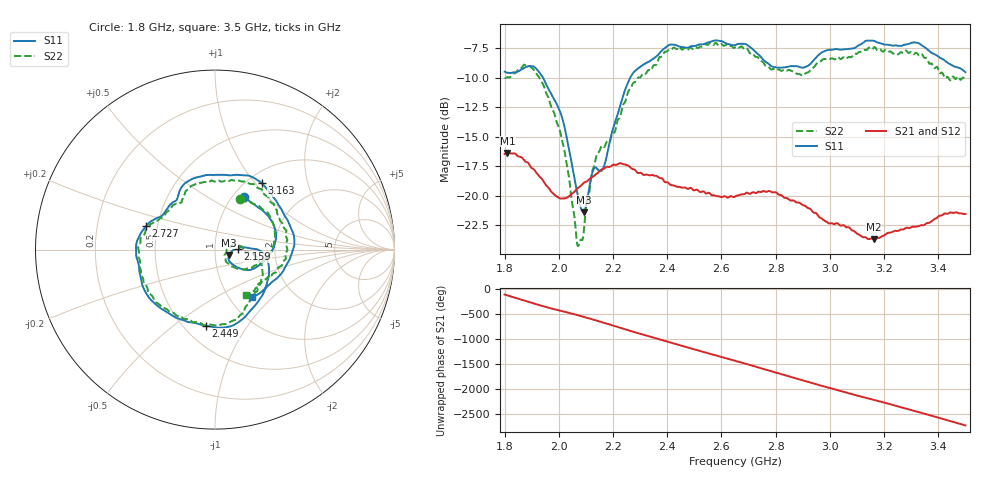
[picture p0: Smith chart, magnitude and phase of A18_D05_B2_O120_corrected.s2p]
! Created with skrf 1.9.0 (http://scikit-rf.org).
# Hz S RI R 50.0
!freq ReS11 ImS11 ReS21 ImS21 ReS12 ImS12 ReS22 ImS22
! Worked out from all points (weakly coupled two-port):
!   1601 points, 1.8 GHz to 3.5 GHz, reference 50 ohm
!   highest |S21| = -16.39 dB at 1.811 GHz (marker M1); lowest = -23.7 dB at 3.162 GHz (marker M2)
!   lowest |S11| = -21.4 dB at 2.091 GHz (marker M3), VSWR 1.19, Z = 58.5 - j3.54 ohm
!   |S11| at or under -10 dB: 1.942 GHz to 2.264 GHz (321.8 MHz wide, 15.3 % of centre)
!   |S22| runs from -24.3 to -7.0 dB; largest |S21 - S12| = 0.0028
!   S11 on the Smith chart (normalised r, x): 1.8 GHz: 1.13, +0.75; 2.159 GHz: 1.29, +0.01; 2.449 GHz: 0.64, -0.66; 2.727 GHz: 0.43, +0.13; 3.163 GHz: 1.16, +1.08; 3.5 GHz: 1.27, -0.75
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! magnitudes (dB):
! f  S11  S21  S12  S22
! 1.8 GHz  -9.5  -16.5  -16.5  -10.0
! 1.811 GHz  -9.6  -16.4  -16.4  -10.0
! 1.88 GHz  -9.1  -17.2  -17.1  -9.0
! 1.941 GHz  -10.0  -18.7  -18.7  -10.5
! 2.013 GHz  -13.4  -20.2  -20.2  -15.4
! 2.067 GHz  -19.6  -19.4  -19.4  -23.9
! 2.084 GHz  -21.2  -19.1  -19.1  -23.7
! 2.091 GHz  -21.4  -18.9  -19.0  -23.3
! 2.127 GHz  -17.8  -18.4  -18.4  -17.7
! 2.159 GHz  -17.9  -17.8  -17.7  -15.8
! 2.261 GHz  -10.1  -17.5  -17.6  -11.0
! 2.367 GHz  -8.0  -18.4  -18.4  -8.4
! 2.449 GHz  -7.4  -19.3  -19.3  -7.5
! 2.65 GHz  -7.2  -20.1  -20.1  -7.4
! 2.727 GHz  -7.8  -19.8  -19.8  -8.2
! 2.798 GHz  -9.1  -19.7  -19.7  -9.3
! 2.934 GHz  -8.7  -21.3  -21.3  -9.2
! 3.162 GHz  -6.9  -23.7  -23.6  -7.4
! 3.163 GHz  -6.9  -23.7  -23.6  -7.4
! 3.217 GHz  -7.2  -23.1  -23.1  -7.8
! 3.325 GHz  -7.1  -22.6  -22.6  -8.0
! 3.5 GHz  -9.5  -21.6  -21.6  -10.3
